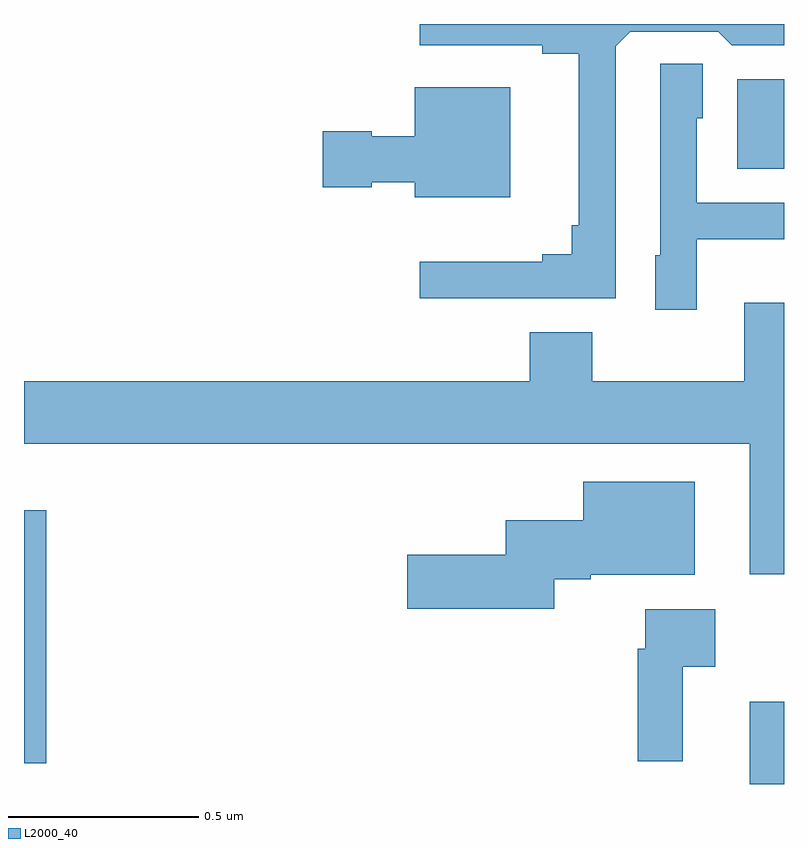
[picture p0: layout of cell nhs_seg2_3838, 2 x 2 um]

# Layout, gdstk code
import gdstk
lib = gdstk.Library(unit=1e-6, precision=1e-09)
def R(c, l, rs):  # rectangles x0, y0, x1, y1
    for r in rs: c.add(gdstk.rectangle(r[:2], r[2:], *l))
def P(c, l, *ps):  # polygons
    for p in ps: c.add(gdstk.Polygon(p, *l))
L2000_40 = (2000, 40)

nhs_seg2_3838 = lib.new_cell('nhs_seg2_3838')
R(nhs_seg2_3838, L2000_40, [(160.91,586.8,161,587.017), (159,586.854,159.059,587.521), (160.877,588.419,161,588.655)])
P(nhs_seg2_3838, L2000_40, [(160.557,588.741),(160.596,588.78),(160.827,588.78),(160.863,588.744),(161,588.744),(161,588.8),(160.041,588.8),(160.041,588.744),(160.364,588.744),(160.364,588.722),(160.46,588.722),(160.46,588.271),(160.441,588.271),(160.441,588.194),(160.364,588.194),(160.364,588.175),(160.041,588.175),(160.041,588.078),(160.557,588.078)],
  [(160.77,588.233),(161,588.233),(161,588.33),(160.77,588.33),(160.77,588.552),(160.786,588.552),(160.786,588.695),(160.674,588.695),(160.674,588.192),(160.661,588.192),(160.661,588.048),(160.77,588.048)],
  [(160.279,588.634),(160.028,588.634),(160.028,588.505),(159.915,588.505),(159.915,588.518),(159.786,588.518),(159.786,588.371),(159.915,588.371),(159.915,588.383),(160.028,588.383),(160.028,588.344),(160.279,588.344)],
  [(161,588.067),(160.895,588.067),(160.895,587.86),(160.495,587.86),(160.495,587.989),(160.331,587.989),(160.331,587.86),(159,587.86),(159,587.696),(160.91,587.696),(160.91,587.352),(161,587.352)],
  [(160.396,587.339),(160.492,587.339),(160.492,587.351),(160.765,587.351),(160.765,587.596),(160.472,587.596),(160.472,587.494),(160.268,587.494),(160.268,587.403),(160.008,587.403),(160.008,587.261),(160.396,587.261)],
  [(160.733,587.108),(160.819,587.108),(160.819,587.26),(160.635,587.26),(160.635,587.156),(160.615,587.156),(160.615,586.86),(160.733,586.86)])

lib.write_gds('nhs_seg2_3838.gds')
